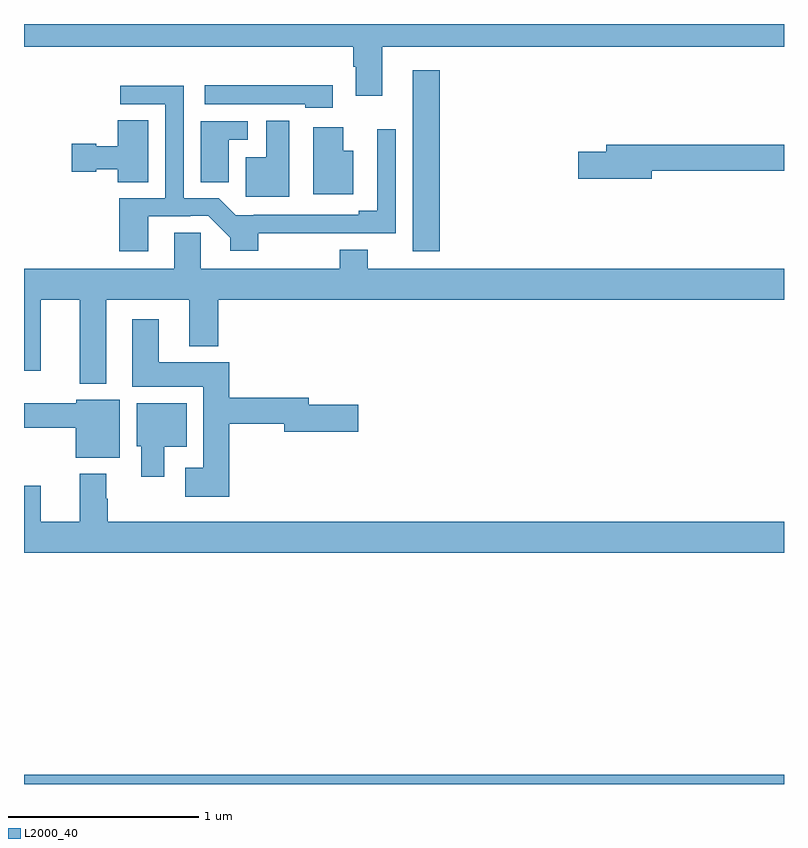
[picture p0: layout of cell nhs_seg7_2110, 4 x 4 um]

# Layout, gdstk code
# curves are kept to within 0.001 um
import gdstk
lib = gdstk.Library(unit=1e-6, precision=1e-09)
def R(c, l, rs):  # rectangles x0, y0, x1, y1
    for r in rs: c.add(gdstk.rectangle(r[:2], r[2:], *l))
def P(c, l, *ps):  # polygons
    for p in ps: c.add(gdstk.Polygon(p, *l))
L2000_40 = (2000, 40)

nhs_seg7_2110 = lib.new_cell('nhs_seg7_2110')
R(nhs_seg7_2110, L2000_40, [(249,1066,253,1066.048), (251.045,1068.804,251.189,1069.756)])
P(nhs_seg7_2110, L2000_40, [(250.885,1069.88),(253,1069.88),(253,1070),(249,1070),(249,1069.88),(250.733,1069.88),(250.733,1069.774),(250.745,1069.774),(250.745,1069.623),(250.885,1069.623)],
  [(250.624,1069.678),(249.951,1069.678),(249.951,1069.577),(250.479,1069.577),(250.479,1069.559),(250.624,1069.559)],
  [(249.655,1068.987),(249.875,1068.987),(249.875,1068.99),(249.969,1068.99),(250.085,1068.874),(250.085,1068.806),(250.233,1068.806),(250.233,1068.899),(250.956,1068.9),(250.956,1069.447),(250.86,1069.447),(250.86,1069.016),(250.763,1069.016),(250.763,1068.996),(250.21,1068.996),(250.21,1068.993),(250.114,1068.993),(250.024,1069.083),(249.84,1069.083),(249.84,1069.676),(249.507,1069.676),(249.507,1069.578),(249.744,1069.578),(249.744,1069.083),(249.5,1069.083),(249.5,1068.804),(249.655,1068.804)],
  [(249.655,1069.493),(249.494,1069.493),(249.494,1069.357),(249.381,1069.357),(249.381,1069.37),(249.252,1069.37),(249.252,1069.223),(249.381,1069.223),(249.381,1069.235),(249.494,1069.235),(249.494,1069.168),(249.655,1069.168)],
  [(250.396,1069.492),(250.274,1069.492),(250.274,1069.3),(250.166,1069.3),(250.166,1069.091),(250.396,1069.091)],
  [(250.078,1069.392),(250.177,1069.392),(250.177,1069.488),(249.929,1069.488),(249.929,1069.168),(250.078,1069.168)],
  [(250.732,1069.333),(250.681,1069.333),(250.681,1069.456),(250.523,1069.456),(250.523,1069.103),(250.732,1069.103)],
  [(252.304,1069.228),(253,1069.228),(253,1069.364),(252.065,1069.364),(252.065,1069.328),(251.916,1069.328),(251.916,1069.186),(252.304,1069.186)],
  [(249.433,1068.548),(249.869,1068.548),(249.869,1068.305),(250.022,1068.305),(250.022,1068.548),(253,1068.548),(253,1068.712),(250.81,1068.712),(250.81,1068.811),(250.663,1068.811),(250.663,1068.712),(249.93,1068.712),(249.93,1068.902),(249.791,1068.902),(249.791,1068.712),(249,1068.712),(249,1068.174),(249.088,1068.174),(249.088,1068.548),(249.293,1068.548),(249.293,1068.107),(249.433,1068.107)],
  [(250.079,1067.896),(250.37,1067.896),(250.37,1067.854),(250.759,1067.854),(250.759,1067.996),(250.498,1067.996),(250.498,1068.032),(250.079,1068.032),(250.079,1068.22),(249.709,1068.22),(249.709,1068.445),(249.569,1068.445),(249.569,1068.092),(249.944,1068.092),(249.944,1067.665),(249.849,1067.665),(249.849,1067.513),(250.079,1067.513)],
  [(249.505,1068.022),(249.276,1068.022),(249.276,1068.004),(249,1068.004),(249,1067.875),(249.272,1067.875),(249.272,1067.717),(249.505,1067.717)],
  [(249.739,1067.774),(249.856,1067.774),(249.856,1068.004),(249.593,1068.004),(249.593,1067.778),(249.617,1067.778),(249.617,1067.616),(249.739,1067.616)],
  [(253,1067.38),(249.441,1067.38),(249.441,1067.501),(249.433,1067.501),(249.433,1067.632),(249.293,1067.632),(249.293,1067.38),(249.088,1067.38),(249.088,1067.569),(249,1067.569),(249,1067.216),(253,1067.216)])

lib.write_gds('nhs_seg7_2110.gds')
